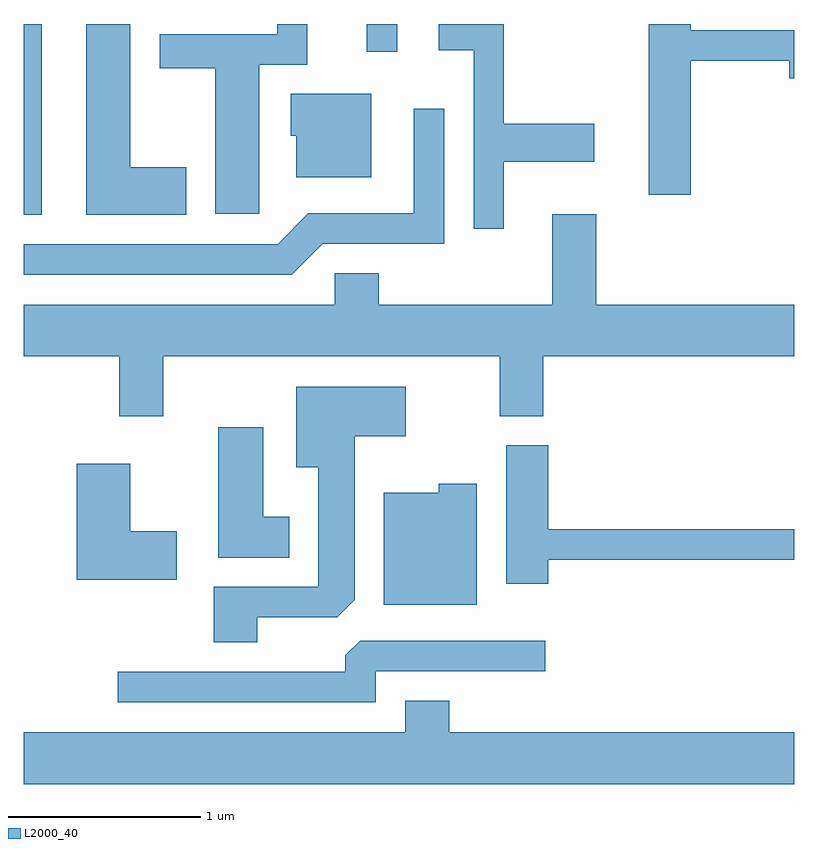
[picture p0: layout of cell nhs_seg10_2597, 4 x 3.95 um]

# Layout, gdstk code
import gdstk
lib = gdstk.Library(unit=1e-6, precision=1e-09)
def R(c, l, rs):  # rectangles x0, y0, x1, y1
    for r in rs: c.add(gdstk.rectangle(r[:2], r[2:], *l))
def P(c, l, *ps):  # polygons
    for p in ps: c.add(gdstk.Polygon(p, *l))
L2000_40 = (2000, 40)

nhs_seg10_2597 = lib.new_cell('nhs_seg10_2597')
R(nhs_seg10_2597, L2000_40, [(261.611,2123.531,261.704,2124.522), (263.391,2124.378,263.549,2124.522)])
P(nhs_seg10_2597, L2000_40, [(262.834,2124.311),(263.084,2124.311),(263.084,2124.522),(262.926,2124.522),(262.926,2124.469),(262.316,2124.469),(262.316,2124.291),(262.606,2124.291),(262.606,2123.536),(262.834,2123.536)],
  [(262.454,2123.779),(262.164,2123.779),(262.164,2124.522),(261.936,2124.522),(261.936,2123.531),(262.454,2123.531)],
  [(264.104,2123.806),(264.574,2123.806),(264.574,2124.004),(264.104,2124.004),(264.104,2124.522),(263.766,2124.522),(263.766,2124.386),(263.946,2124.386),(263.946,2123.458),(264.104,2123.458)],
  [(265.074,2124.331),(265.586,2124.331),(265.586,2124.241),(265.611,2124.241),(265.611,2124.489),(265.074,2124.489),(265.074,2124.522),(264.856,2124.522),(264.856,2123.636),(265.074,2123.636)],
  [(263.414,2124.159),(262.996,2124.159),(262.996,2123.941),(263.026,2123.941),(263.026,2123.726),(263.414,2123.726)],
  [(263.162,2123.381),(263.794,2123.381),(263.794,2124.083),(263.636,2124.083),(263.636,2123.539),(263.089,2123.539),(262.929,2123.379),(261.611,2123.379),(261.611,2123.221),(263.002,2123.221)],
  [(262.334,2122.796),(264.081,2122.796),(264.081,2122.486),(264.309,2122.486),(264.309,2122.796),(265.611,2122.796),(265.611,2123.064),(264.584,2123.064),(264.584,2123.534),(264.356,2123.534),(264.356,2123.064),(263.454,2123.064),(263.454,2123.229),(263.226,2123.229),(263.226,2123.064),(261.611,2123.064),(261.611,2122.796),(262.106,2122.796),(262.106,2122.486),(262.334,2122.486)],
  [(262.824,2121.441),(263.239,2121.441),(263.329,2121.532),(263.329,2122.381),(263.594,2122.381),(263.594,2122.639),(263.026,2122.639),(263.026,2122.221),(263.141,2122.221),(263.141,2121.599),(262.596,2121.599),(262.596,2121.311),(262.824,2121.311)],
  [(262.989,2121.964),(262.854,2121.964),(262.854,2122.429),(262.621,2122.429),(262.621,2121.751),(262.989,2121.751)],
  [(264.334,2121.741),(265.611,2121.741),(265.611,2121.899),(264.334,2121.899),(264.334,2122.334),(264.116,2122.334),(264.116,2121.616),(264.334,2121.616)],
  [(262.404,2121.889),(262.164,2121.889),(262.164,2122.239),(261.886,2122.239),(261.886,2121.636),(262.404,2121.636)],
  [(263.964,2122.134),(263.766,2122.134),(263.766,2122.089),(263.481,2122.089),(263.481,2121.506),(263.964,2121.506)],
  [(263.439,2121.161),(264.318,2121.161),(264.318,2121.319),(263.357,2121.319),(263.281,2121.244),(263.281,2121.159),(262.098,2121.159),(262.098,2121.001),(263.439,2121.001)],
  [(265.611,2120.844),(263.819,2120.844),(263.819,2121.009),(263.591,2121.009),(263.591,2120.844),(261.611,2120.844),(261.611,2120.576),(265.611,2120.576)])

lib.write_gds('nhs_seg10_2597.gds')
